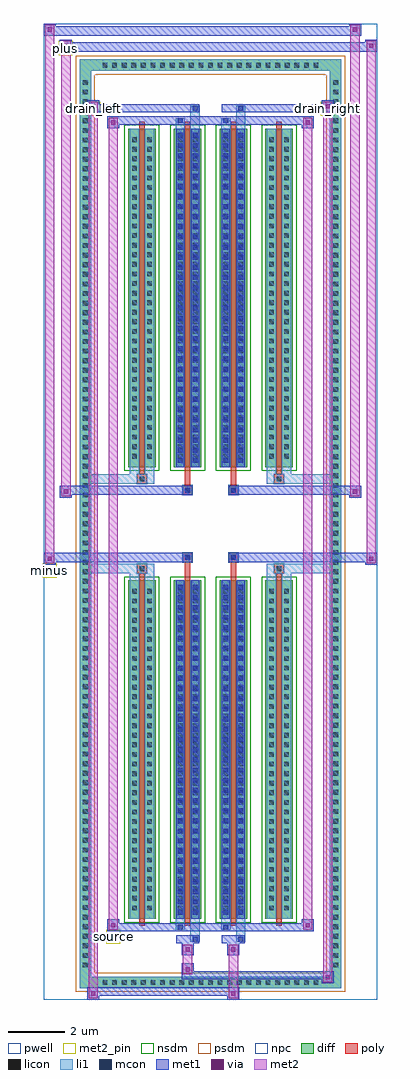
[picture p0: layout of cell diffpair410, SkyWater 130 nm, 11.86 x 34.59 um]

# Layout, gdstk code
import gdstk
lib = gdstk.Library(unit=1e-6, precision=5e-09)
def R(c, l, rs):  # rectangles x0, y0, x1, y1
    for r in rs: c.add(gdstk.rectangle(r[:2], r[2:], *l))
def A(c, l, x, y, w, h, nx, ny, dx, dy):  # array of equal rectangles
    R(c, l, [(x+i*dx, y+j*dy, x+i*dx+w, y+j*dy+h) for i in range(nx) for j in range(ny)])
def P(c, l, *ps):  # polygons
    for p in ps: c.add(gdstk.Polygon(p, *l))
pwell = (64, 44)
diff = (65, 20)
poly = (66, 20)
licon = (66, 44)
li1 = (67, 20)
mcon = (67, 44)
met1 = (68, 20)
via = (68, 44)
met2_pin = (69, 16)
met2 = (69, 20)
nsdm = (93, 44)
psdm = (94, 20)
npc = (95, 20)

diffpair410 = lib.new_cell('diffpair410')
R(diffpair410, pwell, [(-5.91,-16.86,5.91,17.73), (-3.23,-15.05,-0.01,-0.825), (0.01,-15.05,3.23,-0.825), (-3.23,0.825,-0.01,15.05), (0.01,0.825,3.23,15.05)])
A(diffpair410, diff, -3.945, -16.46, 0.41, 0.41, 23, 2, 0.34, 32.51)
A(diffpair410, diff, -4.64, -15.845, 0.41, 0.41, 1, 93, 0, 0.34)
A(diffpair410, diff, 4.23, -15.845, 0.41, 0.41, 1, 93, 0, 0.34)
A(diffpair410, diff, -2.92, -14.005, 0.98, 12, 4, 2, 1.62, 16.01)
R(diffpair410, diff, [(-3.945,-16.46,3.945,-16.05), (-4.64,-15.845,-4.23,15.845), (4.23,-15.845,4.64,15.845), (-3.945,16.05,3.945,16.46)])
P(diffpair410, diff, [(4.64,16.46),(-4.64,16.46),(-4.64,-16.05),(-4.23,-16.05),(-4.23,16.05),(4.23,16.05),(4.23,-16.05),(-4.23,-16.05),(-4.64,-16.05),(-4.64,-16.46),(4.64,-16.46)])
A(diffpair410, poly, -2.53, -14.255, 0.2, 12.5, 4, 2, 1.62, 16.01)
R(diffpair410, poly, [(-2.595,-1.755,-2.265,-1.425), (-2.595,-1.755,-2.265,-1.425), (-0.91,-1.755,-0.71,-1.355), (0.71,-1.755,0.91,-1.355), (2.265,-1.755,2.595,-1.425), (2.265,-1.755,2.595,-1.425), (-0.975,-1.355,-0.645,-1.025), (-0.975,-1.355,-0.645,-1.025), (0.645,-1.355,0.975,-1.025), (0.645,-1.355,0.975,-1.025), (-0.975,1.025,-0.645,1.355), (-0.975,1.025,-0.645,1.355), (0.645,1.025,0.975,1.355), (0.645,1.025,0.975,1.355), (-0.91,1.355,-0.71,1.755), (0.71,1.355,0.91,1.755), (-2.595,1.425,-2.265,1.755), (-2.595,1.425,-2.265,1.755), (2.265,1.425,2.595,1.755), (2.265,1.425,2.595,1.755)])
A(diffpair410, licon, -3.825, -16.34, 0.17, 0.17, 23, 2, 0.34, 32.51)
A(diffpair410, licon, -4.52, -15.725, 0.17, 0.17, 1, 93, 0, 0.34)
A(diffpair410, licon, 4.35, -15.725, 0.17, 0.17, 1, 93, 0, 0.34)
A(diffpair410, licon, -2.78, -13.7, 0.17, 0.17, 1, 34, 0, 0.34)
A(diffpair410, licon, -2.25, -13.7, 0.17, 0.17, 1, 34, 0, 0.34)
A(diffpair410, licon, -1.16, -13.7, 0.17, 0.17, 1, 34, 0, 0.34)
A(diffpair410, licon, -0.63, -13.7, 0.17, 0.17, 1, 34, 0, 0.34)
A(diffpair410, licon, 0.46, -13.7, 0.17, 0.17, 1, 34, 0, 0.34)
A(diffpair410, licon, 0.99, -13.7, 0.17, 0.17, 1, 34, 0, 0.34)
A(diffpair410, licon, 2.08, -13.7, 0.17, 0.17, 1, 34, 0, 0.34)
A(diffpair410, licon, 2.61, -13.7, 0.17, 0.17, 1, 34, 0, 0.34)
A(diffpair410, licon, -2.78, 2.31, 0.17, 0.17, 1, 34, 0, 0.34)
A(diffpair410, licon, -2.25, 2.31, 0.17, 0.17, 1, 34, 0, 0.34)
A(diffpair410, licon, -1.16, 2.31, 0.17, 0.17, 1, 34, 0, 0.34)
A(diffpair410, licon, -0.63, 2.31, 0.17, 0.17, 1, 34, 0, 0.34)
A(diffpair410, licon, 0.46, 2.31, 0.17, 0.17, 1, 34, 0, 0.34)
A(diffpair410, licon, 0.99, 2.31, 0.17, 0.17, 1, 34, 0, 0.34)
A(diffpair410, licon, 2.08, 2.31, 0.17, 0.17, 1, 34, 0, 0.34)
A(diffpair410, licon, 2.61, 2.31, 0.17, 0.17, 1, 34, 0, 0.34)
R(diffpair410, licon, [(-2.515,-1.675,-2.345,-1.505), (2.345,-1.675,2.515,-1.505), (-0.895,-1.275,-0.725,-1.105), (0.725,-1.275,0.895,-1.105), (-0.895,1.105,-0.725,1.275), (0.725,1.105,0.895,1.275), (-2.515,1.505,-2.345,1.675), (2.345,1.505,2.515,1.675)])
A(diffpair410, li1, -3.905, -16.42, 0.33, 0.33, 23, 2, 0.34, 32.51)
A(diffpair410, li1, -4.6, -15.805, 0.33, 0.33, 1, 93, 0, 0.34)
A(diffpair410, li1, 4.27, -15.805, 0.33, 0.33, 1, 93, 0, 0.34)
A(diffpair410, li1, -1.16, -13.85, 0.17, 0.17, 1, 33, 0, 0.36)
A(diffpair410, li1, -0.63, -13.85, 0.17, 0.17, 1, 33, 0, 0.36)
A(diffpair410, li1, 0.46, -13.85, 0.17, 0.17, 1, 33, 0, 0.36)
A(diffpair410, li1, 0.99, -13.85, 0.17, 0.17, 1, 33, 0, 0.36)
A(diffpair410, li1, -2.86, -13.78, 0.33, 0.33, 1, 34, 0, 0.34)
A(diffpair410, li1, -2.33, -13.78, 0.33, 0.33, 1, 34, 0, 0.34)
A(diffpair410, li1, -1.24, -13.78, 0.33, 0.33, 1, 34, 0, 0.34)
A(diffpair410, li1, -0.71, -13.78, 0.33, 0.33, 1, 34, 0, 0.34)
A(diffpair410, li1, 0.38, -13.78, 0.33, 0.33, 1, 34, 0, 0.34)
A(diffpair410, li1, 0.91, -13.78, 0.33, 0.33, 1, 34, 0, 0.34)
A(diffpair410, li1, 2, -13.78, 0.33, 0.33, 1, 34, 0, 0.34)
A(diffpair410, li1, 2.53, -13.78, 0.33, 0.33, 1, 34, 0, 0.34)
A(diffpair410, li1, -1.16, 2.16, 0.17, 0.17, 1, 33, 0, 0.36)
A(diffpair410, li1, -0.63, 2.16, 0.17, 0.17, 1, 33, 0, 0.36)
A(diffpair410, li1, 0.46, 2.16, 0.17, 0.17, 1, 33, 0, 0.36)
A(diffpair410, li1, 0.99, 2.16, 0.17, 0.17, 1, 33, 0, 0.36)
A(diffpair410, li1, -2.86, 2.23, 0.33, 0.33, 1, 34, 0, 0.34)
A(diffpair410, li1, -2.33, 2.23, 0.33, 0.33, 1, 34, 0, 0.34)
A(diffpair410, li1, -1.24, 2.23, 0.33, 0.33, 1, 34, 0, 0.34)
A(diffpair410, li1, -0.71, 2.23, 0.33, 0.33, 1, 34, 0, 0.34)
A(diffpair410, li1, 0.38, 2.23, 0.33, 0.33, 1, 34, 0, 0.34)
A(diffpair410, li1, 0.91, 2.23, 0.33, 0.33, 1, 34, 0, 0.34)
A(diffpair410, li1, 2, 2.23, 0.33, 0.33, 1, 34, 0, 0.34)
A(diffpair410, li1, 2.53, 2.23, 0.33, 0.33, 1, 34, 0, 0.34)
R(diffpair410, li1, [(-4.64,-16.46,-4.23,-16.05), (-4.64,-16.46,-4.23,-16.05), (-4.23,-16.46,4.23,-16.05), (4.23,-16.46,4.64,-16.05), (4.23,-16.46,4.64,-16.05), (-4.64,-16.05,-4.23,16.05), (4.23,-16.05,4.64,16.05), (-0.71,-14.81,-0.38,-14.005), (-0.63,-14.81,-0.46,-14.64), (0.91,-14.81,1.24,-14.005), (0.99,-14.81,1.16,-14.64), (-1.24,-14.38,-0.91,-14.005), (-1.16,-14.38,-0.99,-14.21), (0.38,-14.38,0.71,-14.005), (0.46,-14.38,0.63,-14.21), (-2.86,-14.005,-2.53,-2.005), (-2.33,-14.005,-2,-2.005), (-1.24,-14.005,-0.91,-2.005), (-0.71,-14.005,-0.38,-2.005), (0.38,-14.005,0.71,-2.005), (0.91,-14.005,1.24,-2.005), (2,-14.005,2.33,-2.005), (2.53,-14.005,2.86,-2.005), (-1.16,-13.85,-0.99,-2.16), (-0.63,-13.85,-0.46,-2.16), (0.46,-13.85,0.63,-2.16), (0.99,-13.85,1.16,-2.16), (-2.86,-2.005,-2.53,-1.425), (-2.33,-2.005,-2,-1.425), (2,-2.005,2.33,-1.425), (2.53,-2.005,2.86,-1.425), (-4.64,-1.755,-2.595,-1.425), (-2.86,-1.755,-2.595,-1.425), (-2.595,-1.755,-2.265,-1.425), (-2.265,-1.755,-2,-1.425), (2,-1.755,2.265,-1.425), (2.265,-1.755,2.595,-1.425), (2.265,-1.755,4.64,-1.425), (2.595,-1.755,2.86,-1.425), (-0.975,-1.355,-0.645,-1.025), (0.645,-1.355,0.975,-1.025), (-0.975,1.025,-0.645,1.355), (0.645,1.025,0.975,1.355), (-4.64,1.425,-2.595,1.755), (-2.86,1.425,-2.595,1.755), (-2.86,1.425,-2.53,2.005), (-2.595,1.425,-2.265,1.755), (-2.33,1.425,-2,2.005), (-2.265,1.425,-2,1.755), (2,1.425,2.265,1.755), (2,1.425,2.33,2.005), (2.265,1.425,2.595,1.755), (2.265,1.425,4.64,1.755), (2.53,1.425,2.86,2.005), (2.595,1.425,2.86,1.755), (-2.86,2.005,-2.53,14.005), (-2.33,2.005,-2,14.005), (-1.24,2.005,-0.91,14.005), (-0.71,2.005,-0.38,14.005), (0.38,2.005,0.71,14.005), (0.91,2.005,1.24,14.005), (2,2.005,2.33,14.005), (2.53,2.005,2.86,14.005), (-1.16,2.16,-0.99,13.85), (-0.63,2.16,-0.46,13.85), (0.46,2.16,0.63,13.85), (0.99,2.16,1.16,13.85), (-1.24,14.005,-0.91,14.38), (-0.71,14.005,-0.38,14.81), (0.38,14.005,0.71,14.38), (0.91,14.005,1.24,14.81), (-1.16,14.21,-0.99,14.38), (0.46,14.21,0.63,14.38), (-0.63,14.64,-0.46,14.81), (0.99,14.64,1.16,14.81), (-4.64,16.05,-4.23,16.46), (-4.64,16.05,-4.23,16.46), (-4.23,16.05,4.23,16.46), (4.23,16.05,4.64,16.46), (4.23,16.05,4.64,16.46)])
A(diffpair410, mcon, -1.16, -13.85, 0.17, 0.17, 1, 33, 0, 0.36)
A(diffpair410, mcon, -0.63, -13.85, 0.17, 0.17, 1, 33, 0, 0.36)
A(diffpair410, mcon, 0.46, -13.85, 0.17, 0.17, 1, 33, 0, 0.36)
A(diffpair410, mcon, 0.99, -13.85, 0.17, 0.17, 1, 33, 0, 0.36)
A(diffpair410, mcon, -1.16, 2.16, 0.17, 0.17, 1, 33, 0, 0.36)
A(diffpair410, mcon, -0.63, 2.16, 0.17, 0.17, 1, 33, 0, 0.36)
A(diffpair410, mcon, 0.46, 2.16, 0.17, 0.17, 1, 33, 0, 0.36)
A(diffpair410, mcon, 0.99, 2.16, 0.17, 0.17, 1, 33, 0, 0.36)
R(diffpair410, mcon, [(-0.63,-14.81,-0.46,-14.64), (0.99,-14.81,1.16,-14.64), (-1.16,-14.38,-0.99,-14.21), (0.46,-14.38,0.63,-14.21), (-0.895,-1.275,-0.725,-1.105), (0.725,-1.275,0.895,-1.105), (-0.895,1.105,-0.725,1.275), (0.725,1.105,0.895,1.275), (-1.16,14.21,-0.99,14.38), (0.46,14.21,0.63,14.38), (-0.63,14.64,-0.46,14.81), (0.99,14.64,1.16,14.81)])
A(diffpair410, met1, -1.22, -13.91, 0.29, 0.29, 1, 33, 0, 0.36)
A(diffpair410, met1, -0.69, -13.91, 0.29, 0.29, 1, 33, 0, 0.36)
A(diffpair410, met1, 0.4, -13.91, 0.29, 0.29, 1, 33, 0, 0.36)
A(diffpair410, met1, 0.93, -13.91, 0.29, 0.29, 1, 33, 0, 0.36)
A(diffpair410, met1, -1.22, 2.1, 0.29, 0.29, 1, 33, 0, 0.36)
A(diffpair410, met1, -0.69, 2.1, 0.29, 0.29, 1, 33, 0, 0.36)
A(diffpair410, met1, 0.4, 2.1, 0.29, 0.29, 1, 33, 0, 0.36)
A(diffpair410, met1, 0.93, 2.1, 0.29, 0.29, 1, 33, 0, 0.36)
R(diffpair410, met1, [(-4.37,-16.86,-3.94,-16.43), (0.595,-16.86,1.025,-16.43), (-4.37,-16.72,1.025,-16.43), (3.94,-16.29,4.37,-15.86), (-1.025,-16.15,4.37,-15.86), (-1.025,-16.01,-0.595,-15.58), (-1.025,-15.3,-0.595,-14.87), (0.595,-15.3,1.025,-14.87), (-1.22,-14.87,-0.4,-14.58), (-0.69,-14.87,-0.4,-14.58), (0.4,-14.87,1.22,-14.58), (0.93,-14.87,1.22,-14.58), (-3.66,-14.44,-3.23,-14.01), (-3.66,-14.44,-1.22,-14.15), (-1.22,-14.44,-0.93,-14.15), (-1.22,-14.44,-0.4,-14.15), (-0.4,-14.44,0.4,-14.15), (0.4,-14.44,0.69,-14.15), (0.4,-14.44,1.22,-14.15), (1.22,-14.44,3.66,-14.15), (3.23,-14.44,3.66,-14.01), (-1.22,-14.005,-0.93,-2.005), (-0.69,-14.005,-0.4,-2.005), (0.4,-14.005,0.69,-2.005), (0.93,-14.005,1.22,-2.005), (-5.91,-1.455,-5.48,-1.025), (5.48,-1.455,5.91,-1.025), (-5.91,-1.355,-0.645,-1.025), (-0.975,-1.355,-0.645,-1.025), (0.645,-1.355,0.975,-1.025), (0.645,-1.355,5.91,-1.025), (-0.955,-1.335,-0.665,-1.045), (0.665,-1.335,0.955,-1.045), (-5.34,0.925,-4.91,1.355), (4.91,0.925,5.34,1.355), (-5.34,1.025,-0.975,1.355), (-0.975,1.025,-0.645,1.355), (0.645,1.025,0.975,1.355), (0.975,1.025,5.34,1.355), (-0.955,1.045,-0.665,1.335), (0.665,1.045,0.955,1.335), (-1.22,2.005,-0.93,14.005), (-0.69,2.005,-0.4,14.005), (0.4,2.005,0.69,14.005), (0.93,2.005,1.22,14.005), (-3.66,14.01,-3.23,14.44), (3.23,14.01,3.66,14.44), (-3.66,14.15,-1.22,14.44), (-1.22,14.15,-0.93,14.44), (-1.22,14.15,-0.4,14.44), (-0.4,14.15,0.4,14.44), (0.4,14.15,0.69,14.44), (0.4,14.15,1.22,14.44), (1.22,14.15,3.66,14.44), (-4.37,14.58,-3.94,15.01), (-4.37,14.58,-1.22,14.87), (-1.22,14.58,-0.4,14.87), (-0.69,14.58,-0.4,14.87), (0.4,14.58,1.22,14.87), (0.93,14.58,1.22,14.87), (1.22,14.58,4.37,14.87), (3.94,14.58,4.37,15.01), (-5.34,16.73,-4.91,17.16), (-5.34,16.73,-3.23,17.06), (-3.23,16.73,3.23,17.06), (3.23,16.73,5.91,17.06), (5.48,16.73,5.91,17.16), (-5.91,17.3,-5.48,17.73), (-5.91,17.3,-3.23,17.63), (-3.23,17.3,3.23,17.63), (3.23,17.3,5.34,17.63), (4.91,17.3,5.34,17.73)])
R(diffpair410, via, [(-4.23,-16.72,-4.08,-16.57), (0.735,-16.72,0.885,-16.57), (4.08,-16.15,4.23,-16), (-0.885,-15.87,-0.735,-15.72), (-0.885,-15.16,-0.735,-15.01), (0.735,-15.16,0.885,-15.01), (-3.52,-14.3,-3.37,-14.15), (3.37,-14.3,3.52,-14.15), (-5.77,-1.315,-5.62,-1.165), (5.62,-1.315,5.77,-1.165), (-5.2,1.065,-5.05,1.215), (5.05,1.065,5.2,1.215), (-3.52,14.15,-3.37,14.3), (3.37,14.15,3.52,14.3), (-4.23,14.72,-4.08,14.87), (4.08,14.72,4.23,14.87), (-5.2,16.87,-5.05,17.02), (5.62,16.87,5.77,17.02), (-5.77,17.44,-5.62,17.59), (5.05,17.44,5.2,17.59)])
R(diffpair410, met2_pin, [(-3.695,-14.89,-3.195,-14.39), (-5.945,-1.905,-5.445,-1.405), (-4.405,14.46,-3.905,14.96), (3.905,14.46,4.405,14.96), (-5.375,16.61,-4.875,17.11)])
R(diffpair410, met2, [(-4.32,-16.81,-3.99,-16.48), (-4.32,-16.81,-3.99,14.96), (0.645,-16.81,0.975,-16.48), (0.645,-16.48,0.975,-15.25), (3.99,-16.24,4.32,-15.91), (3.99,-16.24,4.32,14.96), (-0.975,-15.96,-0.645,-15.63), (-0.975,-15.63,-0.645,-15.25), (-0.975,-15.25,-0.645,-14.92), (0.645,-15.25,0.975,-14.92), (-3.61,-14.39,-3.28,-14.06), (-3.61,-14.39,-3.28,14.39), (3.28,-14.39,3.61,-14.06), (3.28,-14.39,3.61,14.39), (-5.86,-1.405,-5.53,-1.075), (-5.86,-1.405,-5.53,17.68), (5.53,-1.405,5.86,-1.075), (5.53,-1.405,5.86,17.11), (-5.29,0.975,-4.96,1.305), (-5.29,0.975,-4.96,17.11), (4.96,0.975,5.29,1.305), (4.96,0.975,5.29,17.68), (-3.61,14.06,-3.28,14.39), (3.28,14.06,3.61,14.39), (-4.32,14.63,-3.99,14.96), (3.99,14.63,4.32,14.96), (-5.29,16.78,-4.96,17.11), (5.53,16.78,5.86,17.11), (-5.86,17.35,-5.53,17.68), (4.96,17.35,5.29,17.68)])
P(diffpair410, met2, [(5.86,-1.405),(5.86,-1.405),(5.86,-1.075),(5.86,-1.075)],
  [(5.86,16.78),(5.86,16.78),(5.86,17.11),(5.86,17.11)],
  [(-5.53,-1.405),(-5.53,-1.405),(-5.53,-1.075),(-5.53,-1.075)],
  [(-5.53,17.35),(-5.53,17.35),(-5.53,17.68),(-5.53,17.68)],
  [(5.29,0.975),(5.29,0.975),(5.29,1.305),(5.29,1.305)],
  [(5.29,17.35),(5.29,17.35),(5.29,17.68),(5.29,17.68)],
  [(-4.96,0.975),(-4.96,0.975),(-4.96,1.305),(-4.96,1.305)],
  [(-4.96,16.78),(-4.96,16.78),(-4.96,17.11),(-4.96,17.11)],
  [(-3.99,-16.81),(-3.99,-16.81),(-3.99,-16.48),(-3.99,-16.48)],
  [(-3.99,14.63),(-3.99,14.63),(-3.99,14.96),(-3.99,14.96)],
  [(4.32,-16.24),(4.32,-16.24),(4.32,-15.91),(4.32,-15.91)],
  [(4.32,14.63),(4.32,14.63),(4.32,14.96),(4.32,14.96)],
  [(-3.28,-14.39),(-3.28,-14.39),(-3.28,-14.06),(-3.28,-14.06)],
  [(-3.28,14.06),(-3.28,14.06),(-3.28,14.39),(-3.28,14.39)],
  [(3.61,-14.39),(3.61,-14.39),(3.61,-14.06),(3.61,-14.06)],
  [(3.61,14.06),(3.61,14.06),(3.61,14.39),(3.61,14.39)])
A(diffpair410, nsdm, -3.05, -14.135, 1.24, 12.26, 4, 2, 1.62, 16.01)
P(diffpair410, psdm, [(4.77,16.59),(-4.77,16.59),(-4.77,-15.92),(-4.1,-15.92),(-4.1,15.92),(4.1,15.92),(4.1,-15.92),(-4.1,-15.92),(-4.77,-15.92),(-4.77,-16.59),(4.77,-16.59)])
R(diffpair410, npc, [(-2.615,-1.775,-2.245,-1.405), (2.245,-1.775,2.615,-1.405), (-0.995,-1.375,-0.625,-1.005), (0.625,-1.375,0.995,-1.005), (-0.995,1.005,-0.625,1.375), (0.625,1.005,0.995,1.375), (-2.615,1.405,-2.245,1.775), (2.245,1.405,2.615,1.775)])
diffpair410.add(gdstk.Label('minus', (-5.695,-1.655), layer=69, texttype=5))
diffpair410.add(gdstk.Label('drain_right', (4.155,14.71), layer=69, texttype=5))
diffpair410.add(gdstk.Label('drain_left', (-4.155,14.71), layer=69, texttype=5))
diffpair410.add(gdstk.Label('source', (-3.445,-14.64), layer=69, texttype=5))
diffpair410.add(gdstk.Label('plus', (-5.125,16.86), layer=69, texttype=5))

lib.write_gds('diffpair410.gds')
